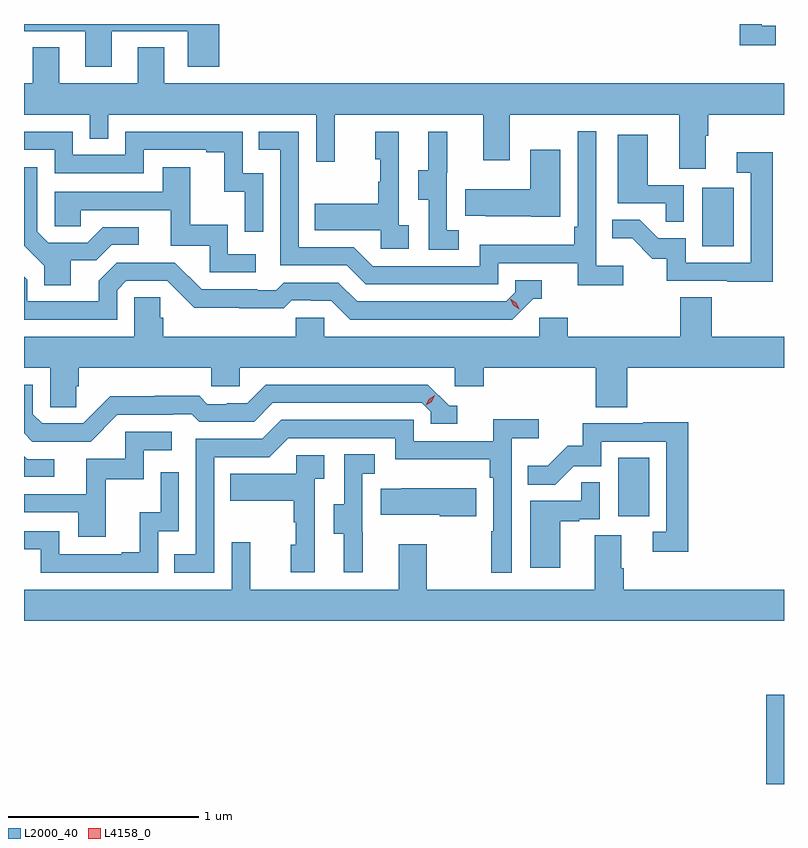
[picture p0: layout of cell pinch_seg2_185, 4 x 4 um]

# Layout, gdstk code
import gdstk
lib = gdstk.Library(unit=1e-6, precision=1e-09)
def R(c, l, rs):  # rectangles x0, y0, x1, y1
    for r in rs: c.add(gdstk.rectangle(r[:2], r[2:], *l))
def P(c, l, *ps):  # polygons
    for p in ps: c.add(gdstk.Polygon(p, *l))
L2000_40 = (2000, 40)
L4158_0 = (4158, 0)

pinch_seg2_185 = lib.new_cell('pinch_seg2_185')
R(pinch_seg2_185, L2000_40, [(955.13,645.445,955.223,645.915), (954.35,646.854,954.514,647.161), (954.794,648.276,954.958,648.583)])
P(pinch_seg2_185, L2000_40, [(951.685,649.407),(952.085,649.407),(952.085,649.221),(952.25,649.221),(952.25,649.445),(951.223,649.445),(951.223,649.407),(951.545,649.407),(951.545,649.221),(951.685,649.221)],
  [(955.18,649.437),(955.107,649.437),(955.107,649.445),(954.991,649.445),(954.991,649.332),(955.18,649.332)],
  [(954.811,648.856),(954.824,648.856),(954.824,648.968),(955.223,648.968),(955.223,649.132),(951.961,649.132),(951.961,649.322),(951.821,649.322),(951.821,649.132),(951.409,649.132),(951.409,649.322),(951.269,649.322),(951.269,649.132),(951.223,649.132),(951.223,648.968),(951.57,648.968),(951.57,648.841),(951.666,648.841),(951.666,648.968),(952.761,648.968),(952.761,648.72),(952.859,648.72),(952.859,648.968),(953.639,648.968),(953.639,648.729),(953.779,648.729),(953.779,648.968),(954.671,648.968),(954.671,648.682),(954.811,648.682)],
  [(954.376,648.172),(954.234,648.172),(954.234,648.88),(954.138,648.88),(954.138,648.379),(954.118,648.379),(954.118,648.283),(953.622,648.283),(953.622,648.171),(953.058,648.171),(952.959,648.27),(952.668,648.27),(952.668,648.879),(952.459,648.879),(952.459,648.783),(952.572,648.783),(952.572,648.174),(952.922,648.174),(953.021,648.075),(953.718,648.075),(953.718,648.186),(954.137,648.186),(954.137,648.07),(954.376,648.07)],
  [(952.482,648.66),(952.374,648.66),(952.374,648.879),(951.756,648.879),(951.756,648.756),(951.48,648.756),(951.48,648.879),(951.223,648.879),(951.223,648.783),(951.384,648.783),(951.384,648.66),(951.852,648.66),(951.852,648.783),(952.181,648.783),(952.181,648.771),(952.277,648.771),(952.277,648.563),(952.386,648.563),(952.386,648.351),(952.482,648.351)],
  [(953.248,648.386),(953.196,648.386),(953.196,648.877),(953.072,648.877),(953.072,648.732),(953.098,648.732),(953.098,648.614),(953.088,648.614),(953.088,648.499),(952.753,648.499),(952.753,648.359),(953.1,648.359),(953.1,648.261),(953.248,648.261)],
  [(953.512,648.359),(953.448,648.359),(953.448,648.663),(953.45,648.663),(953.45,648.877),(953.351,648.877),(953.351,648.675),(953.297,648.675),(953.297,648.52),(953.352,648.52),(953.352,648.256),(953.512,648.256)],
  [(954.696,648.597),(954.505,648.597),(954.505,648.862),(954.347,648.862),(954.347,648.501),(954.601,648.501),(954.601,648.403),(954.696,648.403)],
  [(954.046,648.784),(953.888,648.784),(953.888,648.574),(953.545,648.574),(953.545,648.437),(953.653,648.437),(953.653,648.434),(953.892,648.434),(953.892,648.431),(954.046,648.431)],
  [(955.163,648.769),(954.975,648.769),(954.975,648.663),(955.047,648.663),(955.047,648.189),(954.705,648.189),(954.705,648.318),(954.561,648.318),(954.463,648.416),(954.319,648.416),(954.319,648.317),(954.423,648.317),(954.53,648.21),(954.607,648.21),(954.607,648.093),(954.925,648.093),(954.925,648.088),(955.163,648.088)],
  [(951.469,648.202),(951.604,648.202),(951.684,648.282),(951.826,648.282),(951.826,648.375),(951.638,648.375),(951.557,648.294),(951.351,648.294),(951.294,648.351),(951.294,648.691),(951.223,648.691),(951.223,648.278),(951.329,648.172),(951.329,648.07),(951.469,648.07)],
  [(952.444,648.234),(952.296,648.234),(952.296,648.388),(952.097,648.388),(952.097,648.691),(951.953,648.691),(951.953,648.561),(951.384,648.561),(951.384,648.381),(951.521,648.381),(951.521,648.465),(951.995,648.465),(951.995,648.279),(952.2,648.279),(952.2,648.138),(952.444,648.138)],
  [(951.714,648.045),(951.762,648.093),(951.978,648.093),(952.12,647.951),(952.356,647.951),(952.356,647.949),(952.589,647.949),(952.631,647.991),(952.734,647.991),(952.734,647.988),(952.841,647.988),(952.94,647.889),(953.793,647.889),(953.904,648),(953.947,648),(953.947,648.096),(953.808,648.096),(953.808,648.033),(953.76,647.985),(952.977,647.985),(952.878,648.084),(952.589,648.084),(952.55,648.045),(952.451,648.045),(952.451,648.048),(952.158,648.048),(952.017,648.189),(951.711,648.189),(951.617,648.095),(951.617,647.985),(951.24,647.985),(951.24,648.099),(951.223,648.116),(951.223,647.889),(951.714,647.889)],
  [(951.497,647.538),(951.512,647.538),(951.512,647.636),(952.209,647.636),(952.209,647.538),(952.359,647.538),(952.359,647.636),(953.49,647.636),(953.49,647.538),(953.642,647.538),(953.642,647.636),(954.233,647.636),(954.233,647.428),(954.398,647.428),(954.398,647.636),(955.223,647.636),(955.223,647.8),(954.842,647.8),(954.842,648.008),(954.677,648.008),(954.677,647.8),(954.086,647.8),(954.086,647.898),(953.934,647.898),(953.934,647.8),(952.803,647.8),(952.803,647.898),(952.653,647.898),(952.653,647.8),(951.956,647.8),(951.956,647.898),(951.941,647.898),(951.941,648.008),(951.804,648.008),(951.804,647.8),(951.223,647.8),(951.223,647.636),(951.36,647.636),(951.36,647.428),(951.497,647.428)],
  [(951.714,647.388),(952.007,647.388),(952.007,647.391),(952.106,647.391),(952.145,647.352),(952.434,647.352),(952.533,647.451),(953.316,647.451),(953.364,647.403),(953.364,647.34),(953.503,647.34),(953.503,647.436),(953.46,647.436),(953.349,647.547),(952.496,647.547),(952.397,647.448),(952.29,647.448),(952.29,647.445),(952.187,647.445),(952.145,647.488),(951.912,647.488),(951.912,647.485),(951.676,647.485),(951.534,647.343),(951.318,647.343),(951.27,647.391),(951.27,647.547),(951.223,647.547),(951.223,647.291),(951.267,647.247),(951.573,647.247)],
  [(952.224,647.166),(952.515,647.166),(952.614,647.265),(953.178,647.265),(953.178,647.153),(953.674,647.153),(953.674,647.057),(953.694,647.057),(953.694,646.775),(953.682,646.775),(953.682,646.557),(953.79,646.557),(953.79,647.264),(953.932,647.264),(953.932,647.366),(953.693,647.366),(953.693,647.25),(953.274,647.25),(953.274,647.361),(952.577,647.361),(952.478,647.262),(952.128,647.262),(952.128,646.653),(952.015,646.653),(952.015,646.557),(952.224,646.557)],
  [(954.719,647.348),(954.481,647.348),(954.481,647.343),(954.163,647.343),(954.163,647.226),(954.086,647.226),(953.979,647.119),(953.875,647.119),(953.875,647.02),(954.019,647.02),(954.117,647.118),(954.261,647.118),(954.261,647.247),(954.603,647.247),(954.603,646.773),(954.531,646.773),(954.531,646.668),(954.719,646.668)],
  [(951.653,647.049),(951.852,647.049),(951.852,647.202),(952,647.202),(952,647.298),(951.756,647.298),(951.756,647.157),(951.551,647.157),(951.551,646.971),(951.223,646.971),(951.223,646.875),(951.509,646.875),(951.509,646.746),(951.653,646.746)],
  [(953.006,646.773),(953.004,646.773),(953.004,647.077),(953.068,647.077),(953.068,647.18),(952.908,647.18),(952.908,646.917),(952.853,646.917),(952.853,646.762),(952.907,646.762),(952.907,646.56),(953.006,646.56)],
  [(952.752,647.051),(952.804,647.051),(952.804,647.175),(952.656,647.175),(952.656,647.077),(952.309,647.077),(952.309,646.937),(952.644,646.937),(952.644,646.823),(952.654,646.823),(952.654,646.704),(952.628,646.704),(952.628,646.56),(952.752,646.56)],
  [(951.382,647.154),(951.24,647.154),(951.223,647.171),(951.223,647.061),(951.382,647.061)],
  [(951.93,646.776),(952.038,646.776),(952.038,647.086),(951.942,647.086),(951.942,646.874),(951.833,646.874),(951.833,646.666),(951.737,646.666),(951.737,646.653),(951.408,646.653),(951.408,646.776),(951.223,646.776),(951.223,646.68),(951.312,646.68),(951.312,646.557),(951.93,646.557)],
  [(954.046,646.827),(954.146,646.827),(954.146,646.839),(954.252,646.839),(954.252,647.033),(954.157,647.033),(954.157,646.935),(953.888,646.935),(953.888,646.584),(954.046,646.584)],
  [(953.602,647.002),(953.209,647.002),(953.209,646.999),(953.101,646.999),(953.101,646.862),(953.411,646.862),(953.411,646.855),(953.602,646.855)],
  [(955.223,646.468),(954.38,646.468),(954.38,646.58),(954.367,646.58),(954.367,646.754),(954.227,646.754),(954.227,646.468),(953.343,646.468),(953.343,646.708),(953.195,646.708),(953.195,646.468),(952.415,646.468),(952.415,646.717),(952.317,646.717),(952.317,646.468),(951.223,646.468),(951.223,646.304),(955.223,646.304)])
P(pinch_seg2_185, L4158_0, [(953.338,647.438),(953.338,647.439),(953.354,647.471),(953.385,647.491),(953.386,647.491),(953.386,647.491),(953.369,647.458),(953.338,647.438)],
  [(953.829,647.945),(953.798,647.965),(953.782,647.998),(953.782,647.998),(953.782,647.998),(953.813,647.978),(953.829,647.945),(953.829,647.945)])

lib.write_gds('pinch_seg2_185.gds')
